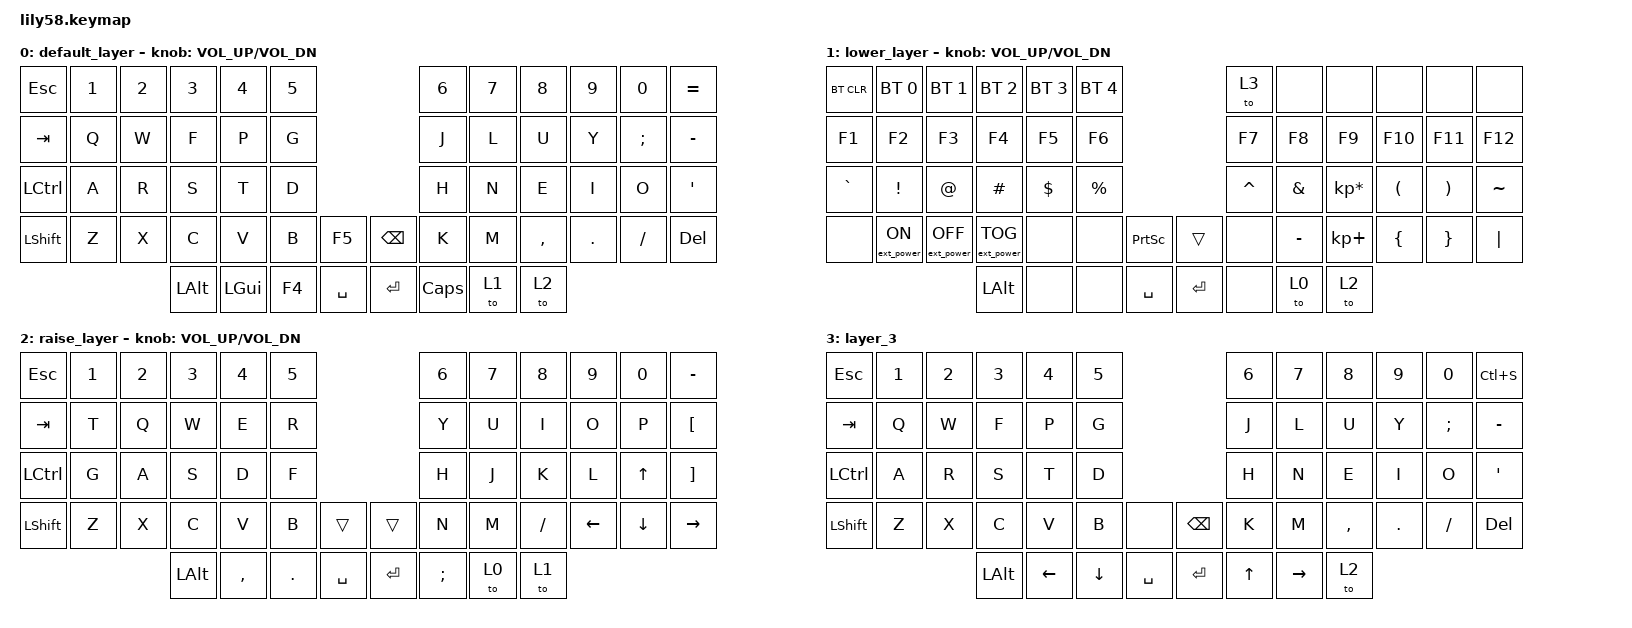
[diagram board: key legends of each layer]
/*
 * Copyright (c) 2020 The ZMK Contributors
 *
 * SPDX-License-Identifier: MIT
 */

#include <behaviors.dtsi>
#include <dt-bindings/zmk/bt.h>
#include <dt-bindings/zmk/ext_power.h>
#include <dt-bindings/zmk/keys.h>

/ {
    combos {
        compatible = "zmk,combos";

        save {
            bindings = <&trans>;
            key-positions = <24 27>;
        };
    };

    macros {
        dns: dns {
            compatible = "zmk,behavior-macro";
            label = "DNS";
            #binding-cells = <0>;
            bindings =
                <&macro_tap>,
                <&macro_wait_time 2000>,
                <&kp LEFT_WIN>,
                <&macro_wait_time 1>,
                <&kp C &kp M &kp D>,
                <&macro_wait_time 2000>,
                <&kp ENTER &kp I>,
                <&macro_wait_time 1>,
                <&kp P &kp C &kp O &kp N &kp F &kp I &kp G &kp SPACE &kp FSLH &kp F &kp L &kp U &kp S &kp H &kp D &kp N &kp S>,
                <&macro_wait_time 100>,
                <&kp ENTER &kp I>,
                <&macro_wait_time 1>,
                <&kp P &kp C &kp O &kp N &kp F &kp I &kp G &kp SPACE &kp FSLH &kp R &kp E &kp N &kp E &kp W>,
                <&macro_wait_time 100>,
                <&kp RET &kp C>,
                <&macro_wait_time 1>,
                <&kp L &kp E &kp A &kp N &kp M &kp G &kp R>,
                <&macro_wait_time 100>,
                <&kp RET>,
                <&macro_wait_time 5000>,
                <&kp LA(F4)>,
                <&macro_wait_time 100>,
                <&kp RET &kp RET>;
        };
    };

    keymap {
        compatible = "zmk,keymap";

        default_layer {
            // ------------------------------------------------------------------------------------------------------------
            // |  ESC  |  1  |  2  |  3   |  4   |  5   |                   |  6   |  7    |  8    |  9   |   0   |   `   |
            // |  TAB  |  Q  |  W  |  E   |  R   |  T   |                   |  Y   |  U    |  I    |  O   |   P   |   -   |
            // |  CTRL |  A  |  S  |  D   |  F   |  G   |                   |  H   |  J    |  K    |  L   |   ;   |   '   |
            // | SHIFT |  Z  |  X  |  C   |  V   |  B   |   "["  |  |  "]"  |  N   |  M    |  ,    |  .   |   /   | SHIFT |
            //                     | ALT  | GUI  | LOWER|  SPACE |  | ENTER | RAISE| BSPC  | GUI   |

            bindings = <
&kp ESC     &kp NUMBER_1  &kp N2  &kp N3    &kp N4    &kp N5                              &kp N6    &kp N7  &kp N8     &kp N9   &kp N0         &kp EQUAL
&kp TAB     &kp Q         &kp W   &kp F     &kp P     &kp G                               &kp J     &kp L   &kp U      &kp Y    &kp SEMICOLON  &kp MINUS
&kp LCTRL   &kp A         &kp R   &kp S     &kp T     &kp D                               &kp H     &kp N   &kp E      &kp I    &kp O          &kp SQT
&kp LSHIFT  &kp Z         &kp X   &kp C     &kp V     &kp B   &kp F5       &kp BACKSPACE  &kp K     &kp M   &kp COMMA  &kp DOT  &kp FSLH       &kp DEL
                                  &kp LALT  &kp LGUI  &kp F4  &kp SPACE    &kp RET        &kp CLCK  &to 1   &to 2
            >;

            sensor-bindings = <&inc_dec_kp C_VOL_UP C_VOL_DN>;
        };

        lower_layer {
            // ------------------------------------------------------------------------------------------------------------
            // | BTCLR | BT1 | BT2 |  BT3 |  BT4 |  BT5 |                   |      |       |       |      |       |       |
            // |  F1   |  F2 |  F3 |  F4  |  F5  |  F6  |                   |  F7  |  F8   |  F9   |  F10 |  F11  |  F12  |
            // |   `   |  !  |  @  |  #   |  $   |  %   |                   |  ^   |  &    |  *    |  (   |   )   |   ~   |
            // |       |     |     |      |      |      |        |  |       |      |  _    |  +    |  {   |   }   |  "|"  |
            //                     |      |      |      |        |  |       |      |       |       |

            bindings = <
&bt BT_CLR  &bt BT_SEL 0      &bt BT_SEL 1       &bt BT_SEL 2       &bt BT_SEL 3  &bt BT_SEL 4                                &to 3      &none      &none            &none     &none     &none
&kp F1      &kp F2            &kp F3             &kp F4             &kp F5        &kp F6                                      &kp F7     &kp F8     &kp F9           &kp F10   &kp F11   &kp F12
&kp GRAVE   &kp EXCL          &kp AT             &kp HASH           &kp DOLLAR    &kp PRCNT                                   &kp CARET  &kp AMPS   &kp KP_MULTIPLY  &kp LPAR  &kp RPAR  &kp TILDE
&none       &ext_power EP_ON  &ext_power EP_OFF  &ext_power EP_TOG  &none         &none         &kp PRINTSCREEN    &trans     &none      &kp MINUS  &kp KP_PLUS      &kp LBRC  &kp RBRC  &kp PIPE
                                                 &kp LEFT_ALT       &none         &none         &kp SPACE          &kp ENTER  &none      &to 0      &to 2
            >;

            sensor-bindings = <&inc_dec_kp C_VOL_UP C_VOL_DN>;
        };

        raise_layer {
            // ------------------------------------------------------------------------------------------------------------
            // |       |     |     |      |      |      |                   |      |       |       |      |       |       |
            // |   `   |  1  |  2  |  3   |  4   |  5   |                   |  6   |   7   |   8   |  9   |   0   |       |
            // |   F1  |  F2 |  F3 |  F4  |  F5  |  F6  |                   |      |   <-  |   v   |  ^   |  ->   |       |
            // |   F7  |  F8 |  F9 |  F10 |  F11 |  F12 |        |  |       |  +   |   -   |   =   |  [   |   ]   |   \   |
            //                     |      |      |      |        |  |       |      |       |       |

            bindings = <
&kp ESCAPE  &kp NUMBER_1  &kp NUMBER_2  &kp NUMBER_3  &kp NUMBER_4  &kp NUMBER_5                          &kp NUMBER_6   &kp NUMBER_7  &kp NUMBER_8  &kp NUMBER_9  &kp NUMBER_0  &kp MINUS
&kp TAB     &kp T         &kp Q         &kp W         &kp E         &kp R                                 &kp Y          &kp U         &kp I         &kp O         &kp P         &kp LEFT_BRACKET
&kp LCTRL   &kp G         &kp A         &kp S         &kp D         &kp F                                 &kp H          &kp J         &kp K         &kp L         &kp UP        &kp RIGHT_BRACKET
&kp LSHIFT  &kp Z         &kp X         &kp C         &kp V         &kp B         &trans       &trans     &kp N          &kp M         &kp SLASH     &kp LEFT      &kp DOWN      &kp RIGHT
                                        &kp LALT      &kp COMMA     &kp PERIOD    &kp SPACE    &kp ENTER  &kp SEMICOLON  &to 0         &to 1
            >;

            sensor-bindings = <&inc_dec_kp C_VOL_UP C_VOL_DN>;
        };

        layer_3 {
            bindings = <
&kp ESC    &kp N1  &kp N2  &kp N3        &kp N4    &kp N5                           &kp N6  &kp N7     &kp N8     &kp N9   &kp N0    &kp LC(S)
&kp TAB    &kp Q   &kp W   &kp F         &kp P     &kp G                            &kp J   &kp L      &kp U      &kp Y    &kp SEMI  &kp MINUS
&kp LCTRL  &kp A   &kp R   &kp S         &kp T     &kp D                            &kp H   &kp N      &kp E      &kp I    &kp O     &kp SQT
&kp LSHFT  &kp Z   &kp X   &kp C         &kp V     &kp B     &none        &kp BSPC  &kp K   &kp M      &kp COMMA  &kp DOT  &kp FSLH  &kp DEL
                           &kp LEFT_ALT  &kp LEFT  &kp DOWN  &kp SPACE    &kp RET   &kp UP  &kp RIGHT  &to 2
            >;
        };
    };
};
